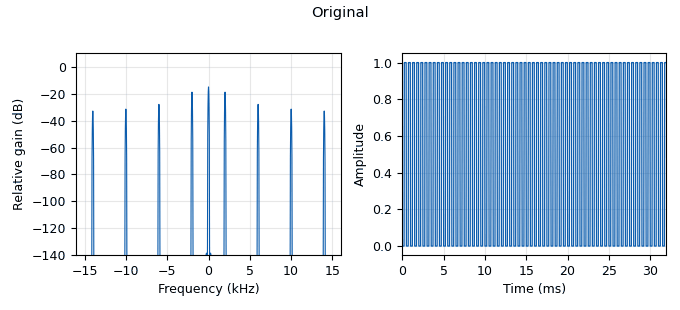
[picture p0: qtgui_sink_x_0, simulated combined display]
<?xml version='1.0' encoding='utf-8'?>
<?grc format='1' created='3.7.9'?>
<flow_graph>
<block>
<key>options</key>
<param><key>id</key><value>top_block</value></param>
<param><key>category</key><value>Custom</value></param>
<param><key>generate_options</key><value>qt_gui</value></param>
</block>
<block>
<key>variable</key>
<param><key>id</key><value>Dsamp</value></param>
<param><key>value</key><value>8</value></param>
</block>
<block>
<key>variable</key>
<param><key>id</key><value>Fs1</value></param>
<param><key>value</key><value>32000</value></param>
</block>
<block>
<key>variable</key>
<param><key>id</key><value>Fs2</value></param>
<param><key>value</key><value>4000</value></param>
</block>
<block>
<key>variable</key>
<param><key>id</key><value>Fs3</value></param>
<param><key>value</key><value>20000</value></param>
</block>
<block>
<key>variable</key>
<param><key>id</key><value>Usamp</value></param>
<param><key>value</key><value>5</value></param>
</block>
<block>
<key>variable_qtgui_range</key>
<param><key>id</key><value>f0</value></param>
<param><key>value</key><value>1000</value></param>
<param><key>orient</key><value>Qt.Horizontal</value></param>
<param><key>start</key><value>-5000</value></param>
<param><key>step</key><value>1</value></param>
<param><key>stop</key><value>5000</value></param>
</block>
<block>
<key>variable_qtgui_range</key>
<param><key>id</key><value>offset</value></param>
<param><key>value</key><value>0</value></param>
<param><key>_enabled</key><value>0</value></param>
<param><key>orient</key><value>Qt.Horizontal</value></param>
<param><key>start</key><value>-1</value></param>
<param><key>step</key><value>10m</value></param>
<param><key>stop</key><value>1</value></param>
</block>
<block>
<key>variable_qtgui_chooser</key>
<param><key>id</key><value>waveform</value></param>
<param><key>value</key><value>102</value></param>
<param><key>label0</key><value>Cosine</value></param>
<param><key>label1</key><value>Rectangular</value></param>
<param><key>label2</key><value>Triangular</value></param>
<param><key>num_opts</key><value>3</value></param>
<param><key>option0</key><value>102</value></param>
<param><key>option1</key><value>103</value></param>
<param><key>option2</key><value>104</value></param>
<param><key>type</key><value>int</value></param>
</block>
<block>
<key>analog_sig_source_x</key>
<param><key>id</key><value>analog_sig_source_x_0</value></param>
<param><key>amp</key><value>1</value></param>
<param><key>freq</key><value>2000</value></param>
<param><key>offset</key><value>0</value></param>
<param><key>type</key><value>float</value></param>
<param><key>samp_rate</key><value>32000</value></param>
<param><key>waveform</key><value>103</value></param>
</block>
<block>
<key>blocks_throttle</key>
<param><key>id</key><value>blocks_throttle_0</value></param>
<param><key>samples_per_second</key><value>32000</value></param>
<param><key>type</key><value>float</value></param>
</block>
<block>
<key>fir_filter_xxx</key>
<param><key>id</key><value>fir_filter_xxx_0</value></param>
<param><key>decim</key><value>8</value></param>
<param><key>_enabled</key><value>0</value></param>
<param><key>taps</key><value>1</value></param>
<param><key>type</key><value>fff</value></param>
</block>
<block>
<key>import</key>
<param><key>id</key><value>import_0</value></param>
<param><key>import</key><value>import pf</value></param>
</block>
<block>
<key>interp_fir_filter_xxx</key>
<param><key>id</key><value>interp_fir_filter_xxx_0</value></param>
<param><key>_enabled</key><value>0</value></param>
<param><key>interp</key><value>5</value></param>
<param><key>taps</key><value>1</value></param>
<param><key>type</key><value>fff</value></param>
</block>
<block>
<key>interp_fir_filter_xxx</key>
<param><key>id</key><value>interp_fir_filter_xxx_0_0</value></param>
<param><key>_enabled</key><value>0</value></param>
<param><key>interp</key><value>1</value></param>
<param><key>taps</key><value>pf.pampt(Usamp,'rect',[1,0])</value></param>
<param><key>type</key><value>fff</value></param>
</block>
<block>
<key>qtgui_sink_x</key>
<param><key>id</key><value>qtgui_sink_x_0</value></param>
<param><key>bw</key><value>32000</value></param>
<param><key>fc</key><value>0</value></param>
<param><key>freqchangevar</key><value>None</value></param>
<param><key>fftsize</key><value>1024</value></param>
<param><key>name</key><value>"Original"</value></param>
<param><key>showports</key><value>True</value></param>
<param><key>type</key><value>float</value></param>
<param><key>wintype</key><value>firdes.WIN_BLACKMAN_hARRIS</value></param>
</block>
<block>
<key>qtgui_sink_x</key>
<param><key>id</key><value>qtgui_sink_x_0_0</value></param>
<param><key>bw</key><value>32000</value></param>
<param><key>fc</key><value>0</value></param>
<param><key>freqchangevar</key><value>None</value></param>
<param><key>_enabled</key><value>0</value></param>
<param><key>fftsize</key><value>1024</value></param>
<param><key>showports</key><value>True</value></param>
<param><key>type</key><value>float</value></param>
<param><key>wintype</key><value>firdes.WIN_BLACKMAN_hARRIS</value></param>
</block>
<block>
<key>qtgui_sink_x</key>
<param><key>id</key><value>qtgui_sink_x_0_1</value></param>
<param><key>bw</key><value>32000</value></param>
<param><key>fc</key><value>0</value></param>
<param><key>freqchangevar</key><value>None</value></param>
<param><key>_enabled</key><value>0</value></param>
<param><key>fftsize</key><value>1024</value></param>
<param><key>showports</key><value>True</value></param>
<param><key>type</key><value>float</value></param>
<param><key>wintype</key><value>firdes.WIN_BLACKMAN_hARRIS</value></param>
</block>
<block>
<key>qtgui_sink_x</key>
<param><key>id</key><value>qtgui_sink_x_0_2</value></param>
<param><key>bw</key><value>32000</value></param>
<param><key>fc</key><value>0</value></param>
<param><key>freqchangevar</key><value>None</value></param>
<param><key>_enabled</key><value>0</value></param>
<param><key>fftsize</key><value>1024</value></param>
<param><key>showports</key><value>True</value></param>
<param><key>type</key><value>float</value></param>
<param><key>wintype</key><value>firdes.WIN_BLACKMAN_hARRIS</value></param>
</block>
<connection><source_block_id>analog_sig_source_x_0</source_block_id><sink_block_id>blocks_throttle_0</sink_block_id><source_key>0</source_key><sink_key>0</sink_key></connection>
<connection><source_block_id>blocks_throttle_0</source_block_id><sink_block_id>fir_filter_xxx_0</sink_block_id><source_key>0</source_key><sink_key>0</sink_key></connection>
<connection><source_block_id>blocks_throttle_0</source_block_id><sink_block_id>qtgui_sink_x_0</sink_block_id><source_key>0</source_key><sink_key>0</sink_key></connection>
<connection><source_block_id>fir_filter_xxx_0</source_block_id><sink_block_id>interp_fir_filter_xxx_0</sink_block_id><source_key>0</source_key><sink_key>0</sink_key></connection>
<connection><source_block_id>fir_filter_xxx_0</source_block_id><sink_block_id>qtgui_sink_x_0_0</sink_block_id><source_key>0</source_key><sink_key>0</sink_key></connection>
<connection><source_block_id>interp_fir_filter_xxx_0</source_block_id><sink_block_id>interp_fir_filter_xxx_0_0</sink_block_id><source_key>0</source_key><sink_key>0</sink_key></connection>
<connection><source_block_id>interp_fir_filter_xxx_0</source_block_id><sink_block_id>qtgui_sink_x_0_1</sink_block_id><source_key>0</source_key><sink_key>0</sink_key></connection>
<connection><source_block_id>interp_fir_filter_xxx_0_0</source_block_id><sink_block_id>qtgui_sink_x_0_2</sink_block_id><source_key>0</source_key><sink_key>0</sink_key></connection>
</flow_graph>
